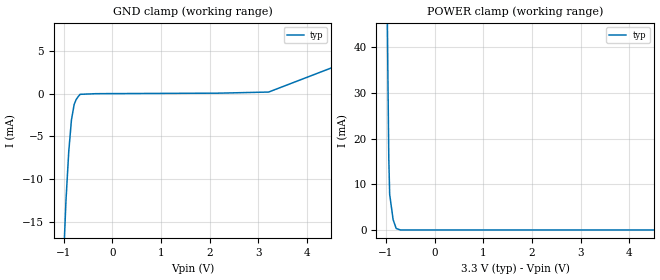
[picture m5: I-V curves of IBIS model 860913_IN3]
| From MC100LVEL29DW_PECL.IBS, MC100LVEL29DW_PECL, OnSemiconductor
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[Model] 860913_IN3
Model_type Input_ECL
Vinl = 2.115V
Vinh = 2.301V
C_comp 600.0fF NA NA
| variable typ   min   max
[Voltage Range]   3.300V  NA  NA
[GND Clamp Reference]   0.000V  NA  NA
[POWER Clamp Reference]  3.300V  NA  NA
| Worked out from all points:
|   GND clamp passes 1 mA (typ) near -0.76 V on its own axis
|   POWER clamp passes 1 mA (typ) near -0.81 V on its own axis
[GND Clamp]
-3.3V     -511.5mA   NA         NA
-1.019V   -22.02mA   NA         NA
-950.2mV  -12.46mA   NA         NA
-893.1mV  -6.758mA   NA         NA
-838mV    -3.076mA   NA         NA
-781.4mV  -1.26mA    NA         NA
-742.2mV  -712.5uA   NA         NA
-659.1mV  -91.41uA   NA         NA
3.213V    172.2uA    NA         NA
6.6V      7.565mA    NA         NA
[POWER Clamp]
-3.3V     935.6mA    NA         NA
-1.071V   152.2mA    NA         NA
-962mV    33.5mA     NA         NA
-944mV    15.84mA    NA         NA
-926mV    7.817mA    NA         NA
-855mV    2.271mA    NA         NA
-792mV    325.3uA    NA         NA
-704mV    0A         NA         NA
6.6V      0A         NA         NA
